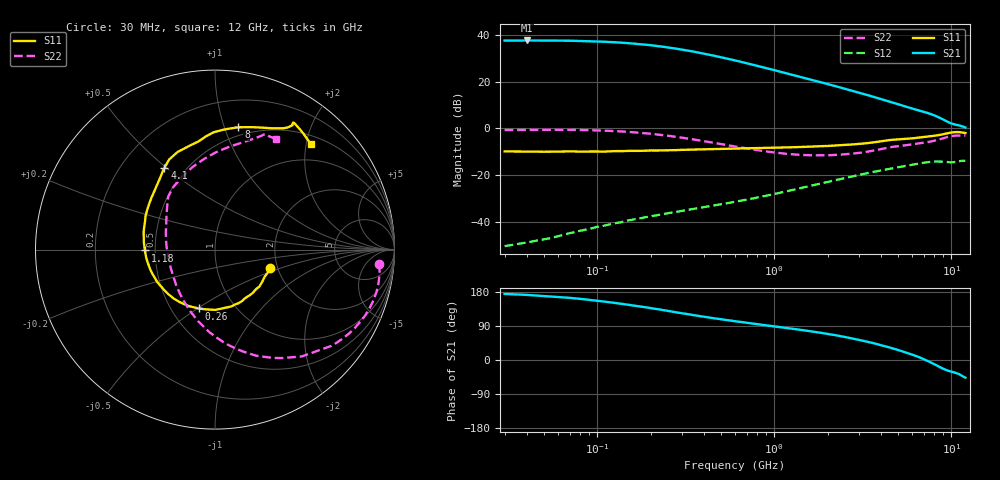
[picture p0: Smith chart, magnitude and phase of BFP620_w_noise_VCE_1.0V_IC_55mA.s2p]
! (c) 2015  Infineon Technologies AG, Munich
! Infineon Technologies  Discrete & RF Semiconductors
! BFP620
! VCE =  1.0 V,  IC =  55 mA
! Common Emitter S-Parameters:  Nov 2015
# GHz  S  MA  R  50
!  f  S11  S21  S12  S22
! GHz  MAG  ANG  MAG  ANG  MAG  ANG  MAG  ANG
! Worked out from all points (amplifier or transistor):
!   239 points, 30 MHz to 12 GHz, reference 50 ohm
!   highest |S21| = 37.6 dB at 40 MHz (marker M1)
!   |S21| within 3 dB of that: start of sweep to 251.8 MHz
!   unconditionally stable (mu >= 1): 1.823 GHz to end of sweep
!   at 300 MHz: K = 0.52, MSG = 34.5 dB, |S12| = -35.3 dB
!   at 1.88 GHz: K = 1.00, MAG = 21.1 dB, |S12| = -23.4 dB
!   at 12 GHz: K = 1.08, MAG = 5.4 dB, |S12| = -13.9 dB
!   lowest NFmin = 1.59 dB at 450 MHz
!   S11 on the Smith chart (normalised r, x): 30 MHz: 1.81, -0.41; 260 MHz: 0.68, -0.51; 1.18 GHz: 0.44, -0.00; 4.1 GHz: 0.39, +0.49; 8 GHz: 0.42, +1.12; 12 GHz: 0.66, +2.09
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0.03  0.3206 -18.7  75.82 174.4  0.003 97.5  0.9187 -5.0
0.04  0.3202 -24.3  76.22 171.8  0.0036 92.6  0.9269 -8.2
0.07  0.3218 -39.9  75.29 164.0  0.0057 83.7  0.9273 -17.6
0.085  0.3186 -46.5  73.88 160.1  0.0067 80.5  0.9172 -22.1
0.11  0.3183 -58.5  71.55 154.0  0.0083 77.4  0.893 -29.3
0.135  0.3258 -68.2  68.58 148.7  0.0097 74.0  0.8614 -35.9
0.17  0.3291 -80.2  64 142.4  0.0117 70.9  0.8075 -43.9
0.2  0.336 -89.7  60.36 136.9  0.0131 69.0  0.7668 -50.9
0.24  0.3378 -100.6  55.34 131.1  0.0148 66.9  0.7088 -58.5
0.26  0.3404 -105.5  53.03 128.4  0.0156 66.0  0.6828 -62.1
0.3  0.3461 -114.2  48.68 123.4  0.0171 64.5  0.6332 -68.9
0.4  0.3566 -130.1  39.82 114.1  0.0205 63.0  0.5323 -82.7
0.5  0.3619 -141.9  33.25 107.3  0.0236 62.4  0.4603 -94.0
0.6  0.3691 -150.7  28.42 102.2  0.0268 62.4  0.409 -103.5
0.8  0.3778 -163.4  21.79 94.5  0.033 62.2  0.3417 -119.4
1.18  0.3906 -179.3  15 84.5  0.0451 60.9  0.2838 -142.3
1.64  0.4071 167.4  10.84 75.2  0.0599 57.7  0.2642 -162.9
2.4  0.4375 149.9  7.347 62.3  0.0833 50.3  0.2749 171.4
4.1  0.5356 121.7  4.123 37.8  0.1279 31.5  0.3657 136.5
4.5  0.5632 117.0  3.701 32.5  0.1366 27.3  0.3934 131.5
8  0.6943 79.2  1.901 -11.3  0.195 -10.8  0.5429 89.3
12  0.794 47.8  1.042 -46.6  0.2013 -42.7  0.7046 61.1
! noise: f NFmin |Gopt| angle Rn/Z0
0.45  1.59  0.32  -166  0.1
0.9  1.61  0.35  -155  0.11
1.9  1.62  0.38  -139  0.13
2.4  1.63  0.38  -137  0.14
3.5  1.69  0.43  -106  0.25
5.5  1.98  0.45  -85  0.35
10  2.28  0.66  -42  1.31
